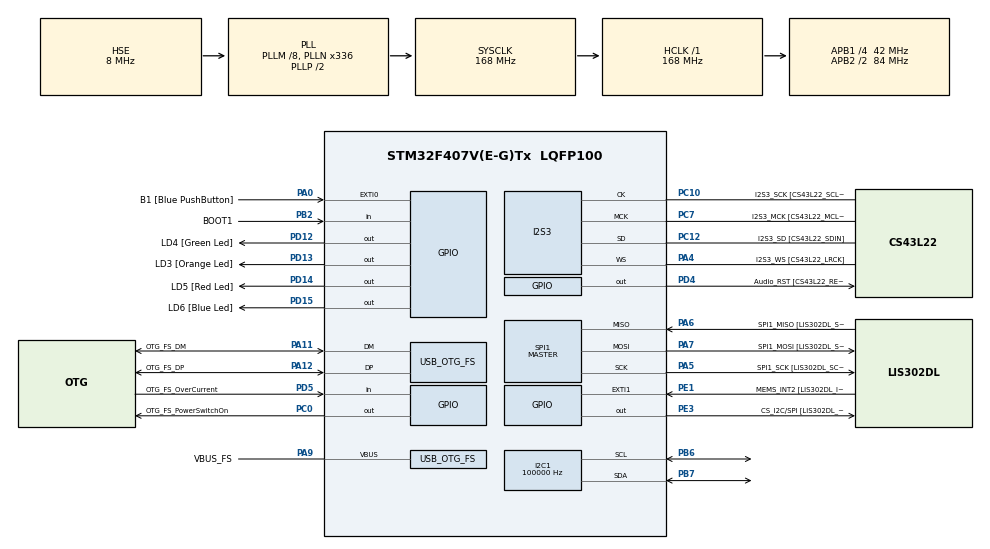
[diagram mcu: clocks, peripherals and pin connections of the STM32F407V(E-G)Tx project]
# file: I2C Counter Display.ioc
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Dma.I2C1_RX.1.Direction=DMA_PERIPH_TO_MEMORY
Dma.I2C1_RX.1.FIFOMode=DMA_FIFOMODE_DISABLE
Dma.I2C1_RX.1.Instance=DMA1_Stream5
Dma.I2C1_RX.1.MemDataAlignment=DMA_MDATAALIGN_BYTE
Dma.I2C1_RX.1.MemInc=DMA_MINC_ENABLE
Dma.I2C1_RX.1.Mode=DMA_NORMAL
Dma.I2C1_RX.1.PeriphDataAlignment=DMA_PDATAALIGN_BYTE
Dma.I2C1_RX.1.PeriphInc=DMA_PINC_DISABLE
Dma.I2C1_RX.1.Priority=DMA_PRIORITY_LOW
Dma.I2C1_TX.0.Direction=DMA_MEMORY_TO_PERIPH
Dma.I2C1_TX.0.FIFOMode=DMA_FIFOMODE_DISABLE
Dma.I2C1_TX.0.Instance=DMA1_Stream6
Dma.I2C1_TX.0.MemDataAlignment=DMA_MDATAALIGN_BYTE
Dma.I2C1_TX.0.MemInc=DMA_MINC_ENABLE
Dma.I2C1_TX.0.Mode=DMA_NORMAL
Dma.I2C1_TX.0.PeriphDataAlignment=DMA_PDATAALIGN_BYTE
Dma.I2C1_TX.0.PeriphInc=DMA_PINC_DISABLE
Dma.I2C1_TX.0.Priority=DMA_PRIORITY_LOW
Dma.Request0=I2C1_TX
Dma.Request1=I2C1_RX
I2C1.ClockSpeed=100000
I2S3.AudioFreq-Half_Duplex_Master=I2S_AUDIOFREQ_96K
I2S3.ErrorAudioFreq=-2.34 %
I2S3.ErrorAudioFreq-Half_Duplex_Master=0.8 %
I2S3.FullDuplexMode=I2S_FULLDUPLEXMODE_DISABLE
I2S3.Instance=SPI$Index
I2S3.RealAudioFreq=93.75 KHz
I2S3.RealAudioFreq-Half_Duplex_Master=96.774 KHz
I2S3.VirtualMode=I2S_MODE_MASTER
Mcu.Family=STM32F4
Mcu.Name=STM32F407V(E-G)Tx
Mcu.Package=LQFP100
NVIC.DMA1_Stream5_IRQn=true\:0\:0\:false\:false\:true\:false\:true\:true
NVIC.DMA1_Stream6_IRQn=true\:0\:0\:false\:false\:true\:false\:true\:true
NVIC.I2C1_EV_IRQn=true\:0\:0\:false\:false\:true\:true\:true\:true
NVIC.OTG_FS_IRQn=true\:0\:0\:false\:false\:true\:true\:true\:true
NVIC.PriorityGroup=NVIC_PRIORITYGROUP_0
PA0-WKUP.GPIO_Label=B1 [Blue PushButton]
PA0-WKUP.GPIO_ModeDefaultEXTI=GPIO_MODE_EVT_RISING
PA0-WKUP.GPIO_PuPd=GPIO_NOPULL
PA0-WKUP.Signal=GPXTI0
PA10.GPIO_Label=OTG_FS_ID
PA10.GPIO_Mode=GPIO_MODE_AF_PP
PA10.GPIO_PuPd=GPIO_NOPULL
PA10.GPIO_Speed=GPIO_SPEED_FREQ_LOW
PA10.Signal=USB_OTG_FS_ID
PA11.GPIO_Label=OTG_FS_DM
PA11.GPIO_Mode=GPIO_MODE_AF_PP
PA11.GPIO_PuPd=GPIO_NOPULL
PA11.GPIO_Speed=GPIO_SPEED_FREQ_LOW
PA11.Mode=Host_Only
PA11.Signal=USB_OTG_FS_DM
PA12.GPIO_Label=OTG_FS_DP
PA12.GPIO_Mode=GPIO_MODE_AF_PP
PA12.GPIO_PuPd=GPIO_NOPULL
PA12.GPIO_Speed=GPIO_SPEED_FREQ_LOW
PA12.Mode=Host_Only
PA12.Signal=USB_OTG_FS_DP
PA13.GPIO_Label=SWDIO
PA13.Mode=Serial_Wire
PA13.Signal=SYS_JTMS-SWDIO
PA14.GPIO_Label=SWCLK
PA14.Mode=Serial_Wire
PA14.Signal=SYS_JTCK-SWCLK
PA4.GPIO_Label=I2S3_WS [CS43L22_LRCK]
PA4.GPIO_Mode=GPIO_MODE_AF_PP
PA4.GPIO_PuPd=GPIO_NOPULL
PA4.GPIO_Speed=GPIO_SPEED_FREQ_LOW
PA4.Mode=Half_Duplex_Master
PA4.Signal=I2S3_WS
PA5.GPIO_Label=SPI1_SCK [LIS302DL_SCL/SPC]
PA5.GPIO_Mode=GPIO_MODE_AF_PP
PA5.GPIO_PuPd=GPIO_NOPULL
PA5.GPIO_Speed=GPIO_SPEED_FREQ_LOW
PA5.Mode=Full_Duplex_Master
PA5.Signal=SPI1_SCK
PA6.GPIO_Label=SPI1_MISO [LIS302DL_SDO]
PA6.GPIO_Mode=GPIO_MODE_AF_PP
PA6.GPIO_PuPd=GPIO_NOPULL
PA6.GPIO_Speed=GPIO_SPEED_FREQ_LOW
PA6.Mode=Full_Duplex_Master
PA6.Signal=SPI1_MISO
PA7.GPIO_Label=SPI1_MOSI [LIS302DL_SDA/SDI/SDO]
PA7.GPIO_Mode=GPIO_MODE_AF_PP
PA7.GPIO_PuPd=GPIO_NOPULL
PA7.GPIO_Speed=GPIO_SPEED_FREQ_LOW
PA7.Mode=Full_Duplex_Master
PA7.Signal=SPI1_MOSI
PA9.GPIO_Label=VBUS_FS
PA9.GPIO_Mode=GPIO_MODE_INPUT
PA9.GPIO_PuPd=GPIO_NOPULL
PA9.Mode=Activate_VBUS
PA9.Signal=USB_OTG_FS_VBUS
PB10.GPIO_Label=CLK_IN [MP45DT02_CLK]
PB10.GPIO_Mode=GPIO_MODE_AF_PP
PB10.GPIO_PuPd=GPIO_NOPULL
PB10.GPIO_Speed=GPIO_SPEED_FREQ_LOW
PB10.Signal=I2S2_CK
PB2.GPIO_Label=BOOT1
PB2.GPIO_Mode=GPIO_MODE_INPUT
PB2.GPIO_PuPd=GPIO_NOPULL
PB2.Signal=GPIO_Input
PB3.GPIO_Label=SWO
PB3.Signal=SYS_JTDO-SWO
PB6.GPIO_Mode=GPIO_MODE_AF_OD
PB6.GPIO_Pu=GPIO_PULLUP
PB6.GPIO_PuPd=GPIO_NOPULL
PB6.GPIO_Speed=GPIO_SPEED_FREQ_VERY_HIGH
PB6.Mode=I2C
PB6.Signal=I2C1_SCL
PB7.GPIO_Mode=GPIO_MODE_AF_OD
PB7.GPIO_Pu=GPIO_PULLUP
PB7.GPIO_Speed=GPIO_SPEED_FREQ_VERY_HIGH
PB7.Mode=I2C
PB7.Signal=I2C1_SDA
PC0.GPIO_Label=OTG_FS_PowerSwitchOn
PC0.GPIO_PuPd=GPIO_NOPULL
PC0.GPIO_Speed=GPIO_SPEED_FREQ_LOW
PC0.PinState=GPIO_PIN_SET
PC0.Signal=GPIO_Output
PC10.GPIO_Label=I2S3_SCK [CS43L22_SCLK]
PC10.GPIO_Mode=GPIO_MODE_AF_PP
PC10.GPIO_PuPd=GPIO_NOPULL
PC10.GPIO_Speed=GPIO_SPEED_FREQ_LOW
PC10.Mode=Half_Duplex_Master
PC10.Signal=I2S3_CK
PC12.GPIO_Label=I2S3_SD [CS43L22_SDIN]
PC12.GPIO_Mode=GPIO_MODE_AF_PP
PC12.GPIO_PuPd=GPIO_NOPULL
PC12.GPIO_Speed=GPIO_SPEED_FREQ_LOW
PC12.Mode=Half_Duplex_Master
PC12.Signal=I2S3_SD
PC14-OSC32_IN.GPIO_Label=PC14-OSC32_IN
PC14-OSC32_IN.Mode=LSE-External-Oscillator
PC14-OSC32_IN.Signal=RCC_OSC32_IN
PC15-OSC32_OUT.GPIO_Label=PC15-OSC32_OUT
PC15-OSC32_OUT.Mode=LSE-External-Oscillator
PC15-OSC32_OUT.Signal=RCC_OSC32_OUT
PC3.GPIO_Label=PDM_OUT [MP45DT02_DOUT]
PC3.GPIO_Mode=GPIO_MODE_AF_PP
PC3.GPIO_PuPd=GPIO_NOPULL
PC3.GPIO_Speed=GPIO_SPEED_FREQ_LOW
PC3.Signal=I2S2_SD
PC7.GPIO_Label=I2S3_MCK [CS43L22_MCLK]
PC7.GPIO_Mode=GPIO_MODE_AF_PP
PC7.GPIO_PuPd=GPIO_NOPULL
PC7.GPIO_Speed=GPIO_SPEED_FREQ_LOW
PC7.Mode=Master_Clock_Activated
PC7.Signal=I2S3_MCK
PD12.GPIO_Label=LD4 [Green Led]
PD12.GPIO_PuPd=GPIO_NOPULL
PD12.GPIO_Speed=GPIO_SPEED_FREQ_LOW
PD12.Signal=GPIO_Output
PD13.GPIO_Label=LD3 [Orange Led]
PD13.GPIO_PuPd=GPIO_NOPULL
PD13.GPIO_Speed=GPIO_SPEED_FREQ_LOW
PD13.Signal=GPIO_Output
PD14.GPIO_Label=LD5 [Red Led]
PD14.GPIO_PuPd=GPIO_NOPULL
PD14.GPIO_Speed=GPIO_SPEED_FREQ_LOW
PD14.Signal=GPIO_Output
PD15.GPIO_Label=LD6 [Blue Led]
PD15.GPIO_PuPd=GPIO_NOPULL
PD15.GPIO_Speed=GPIO_SPEED_FREQ_LOW
PD15.Signal=GPIO_Output
PD4.GPIO_Label=Audio_RST [CS43L22_RESET]
PD4.GPIO_PuPd=GPIO_NOPULL
PD4.GPIO_Speed=GPIO_SPEED_FREQ_LOW
PD4.Signal=GPIO_Output
PD5.GPIO_Label=OTG_FS_OverCurrent
PD5.GPIO_Mode=GPIO_MODE_INPUT
PD5.GPIO_PuPd=GPIO_NOPULL
PD5.Signal=GPIO_Input
PE1.GPIO_Label=MEMS_INT2 [LIS302DL_INT2]
PE1.GPIO_ModeDefaultEXTI=GPIO_MODE_EVT_RISING
PE1.GPIO_PuPd=GPIO_NOPULL
PE1.Signal=GPXTI1
PE3.GPIO_Label=CS_I2C/SPI [LIS302DL_CS_I2C/SPI]
PE3.GPIO_PuPd=GPIO_NOPULL
PE3.GPIO_Speed=GPIO_SPEED_FREQ_LOW
PE3.Signal=GPIO_Output
PH0-OSC_IN.GPIO_Label=PH0-OSC_IN
PH0-OSC_IN.Mode=HSE-External-Oscillator
PH0-OSC_IN.Signal=RCC_OSC_IN
PH1-OSC_OUT.GPIO_Label=PH1-OSC_OUT
PH1-OSC_OUT.Mode=HSE-External-Oscillator
PH1-OSC_OUT.Signal=RCC_OSC_OUT
ProjectManager.HeapSize=0x200
ProjectManager.StackSize=0x400
ProjectManager.TargetToolchain=STM32CubeIDE
RCC.48MHZClocksFreq_Value=48000000
RCC.AHBFreq_Value=168000000
RCC.APB1CLKDivider=RCC_HCLK_DIV4
RCC.APB1Freq_Value=42000000
RCC.APB1TimFreq_Value=84000000
RCC.APB2CLKDivider=RCC_HCLK_DIV2
RCC.APB2Freq_Value=84000000
RCC.APB2TimFreq_Value=168000000
RCC.CortexFreq_Value=168000000
RCC.HCLKFreq_Value=168000000
RCC.HSE_VALUE=8000000
RCC.HSI_VALUE=16000000
RCC.PLLM=8
RCC.PLLN=336
RCC.PLLQ=7
RCC.SYSCLKFreq_VALUE=168000000
RCC.SYSCLKSource=RCC_SYSCLKSOURCE_PLLCLK
RCC.VCOOutputFreq_Value=336000000
SPI1.BaudRatePrescaler-Full_Duplex_Master=SPI_BAUDRATEPRESCALER_2
SPI1.CalculateBaudRate-Full_Duplex_Master=42.0 MBits/s
SPI1.Direction=SPI_DIRECTION_2LINES
SPI1.Mode=SPI_MODE_MASTER
SPI1.Mode-Full_Duplex_Master=SPI_MODE_MASTER
SPI1.VirtualType=VM_MASTER
USB_HOST.BSP.number=1
USB_HOST.USBH_HandleTypeDef-CDC_FS=hUsbHostFS
USB_HOST.VirtualModeFS=Cdc
USB_HOST0.BSP.STBoard=false
USB_HOST0.BSP.api=Unknown
USB_HOST0.BSP.instance=PC0
USB_HOST0.BSP.ip=GPIO
USB_HOST0.BSP.mode=Output
USB_HOST0.BSP.name=Drive_VBUS_FS
USB_HOST0.BSP.solution=PC0
USB_OTG_FS.VirtualMode=Host_Only
USB_OTG_FS.phy_itface=HCD_PHY_EMBEDDED
VP_USB_HOST_VS_USB_HOST_CDC_FS.Mode=CDC_FS
board=STM32F407G-DISC1

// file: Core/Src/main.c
/* USER CODE BEGIN Header */
/**
  ******************************************************************************
  * @file           : main.c
  * @brief          : Main program body
  ******************************************************************************
  * @attention
  *
  * Copyright (c) 2023 STMicroelectronics.
  * All rights reserved.
  *
  * This software is licensed under terms that can be found in the LICENSE file
  * in the root directory of this software component.
  * If no LICENSE file comes with this software, it is provided AS-IS.
  *
  ******************************************************************************
  */
/* USER CODE END Header */
#include "main.h"
#include "usb_host.h"
#include "liquidcrystal_i2c.h"
#include <stdio.h>

/* USER CODE BEGIN PD */
#define displayAddress = 0x4e
/* USER CODE END PD */

I2C_HandleTypeDef hi2c1;
DMA_HandleTypeDef hdma_i2c1_tx;
DMA_HandleTypeDef hdma_i2c1_rx;

I2S_HandleTypeDef hi2s3;

SPI_HandleTypeDef hspi1;

void SystemClock_Config(void);
static void MX_GPIO_Init(void);
static void MX_DMA_Init(void);
static void MX_I2C1_Init(void);
static void MX_I2S3_Init(void);
static void MX_SPI1_Init(void);
void MX_USB_HOST_Process(void);

int main(void)
{

  /* MCU Configuration--------------------------------------------------------*/

  /* Reset of all peripherals, Initializes the Flash interface and the Systick. */
  HAL_Init();

  /* Configure the system clock */
  SystemClock_Config();

  /* Initialize all configured peripherals */
  MX_GPIO_Init();
  MX_DMA_Init();
  MX_I2C1_Init();
  MX_I2S3_Init();
  MX_SPI1_Init();
  MX_USB_HOST_Init();
  /* USER CODE BEGIN 2 */
  HD44780_Init(2);
  HD44780_Clear();
  HD44780_SetCursor(0,0);
  HD44780_PrintStr("0");
  /* USER CODE END 2 */

  /* Infinite loop */
  /* USER CODE BEGIN WHILE */
  int timesPressed = 0;
  int buttonToggled = 0;
  char display[32];
  while (1)
  {
    /* USER CODE END WHILE */
    MX_USB_HOST_Process();

    /* USER CODE BEGIN 3 */
    if(HAL_GPIO_ReadPin(GPIOA, GPIO_PIN_0)) {
    	if(!buttonToggled) {
    		timesPressed++;
    		buttonToggled = 1;
    		sprintf(display, "%d", timesPressed);
    		HD44780_Clear();
    		HD44780_SetCursor(0,0);
    		HD44780_PrintStr(display);
    	}
    }
    else{buttonToggled = 0;}
  }
  /* USER CODE END 3 */
}

void SystemClock_Config(void)
{
  RCC_OscInitTypeDef RCC_OscInitStruct = {0};
  RCC_ClkInitTypeDef RCC_ClkInitStruct = {0};

  /** Configure the main internal regulator output voltage
  */
  __HAL_RCC_PWR_CLK_ENABLE();
  __HAL_PWR_VOLTAGESCALING_CONFIG(PWR_REGULATOR_VOLTAGE_SCALE1);

  /** Initializes the RCC Oscillators according to the specified parameters
  * in the RCC_OscInitTypeDef structure.
  */
  RCC_OscInitStruct.OscillatorType = RCC_OSCILLATORTYPE_HSE;
  RCC_OscInitStruct.HSEState = RCC_HSE_ON;
  RCC_OscInitStruct.PLL.PLLState = RCC_PLL_ON;
  RCC_OscInitStruct.PLL.PLLSource = RCC_PLLSOURCE_HSE;
  RCC_OscInitStruct.PLL.PLLM = 8;
  RCC_OscInitStruct.PLL.PLLN = 336;
  RCC_OscInitStruct.PLL.PLLP = RCC_PLLP_DIV2;
  RCC_OscInitStruct.PLL.PLLQ = 7;
  if (HAL_RCC_OscConfig(&RCC_OscInitStruct) != HAL_OK)
  {
    Error_Handler();
  }

  /** Initializes the CPU, AHB and APB buses clocks
  */
  RCC_ClkInitStruct.ClockType = RCC_CLOCKTYPE_HCLK|RCC_CLOCKTYPE_SYSCLK
                              |RCC_CLOCKTYPE_PCLK1|RCC_CLOCKTYPE_PCLK2;
  RCC_ClkInitStruct.SYSCLKSource = RCC_SYSCLKSOURCE_PLLCLK;
  RCC_ClkInitStruct.AHBCLKDivider = RCC_SYSCLK_DIV1;
  RCC_ClkInitStruct.APB1CLKDivider = RCC_HCLK_DIV4;
  RCC_ClkInitStruct.APB2CLKDivider = RCC_HCLK_DIV2;

  if (HAL_RCC_ClockConfig(&RCC_ClkInitStruct, FLASH_LATENCY_5) != HAL_OK)
  {
    Error_Handler();
  }
}

static void MX_I2C1_Init(void)
{

  hi2c1.Instance = I2C1;
  hi2c1.Init.ClockSpeed = 100000;
  hi2c1.Init.DutyCycle = I2C_DUTYCYCLE_2;
  hi2c1.Init.OwnAddress1 = 0;
  hi2c1.Init.AddressingMode = I2C_ADDRESSINGMODE_7BIT;
  hi2c1.Init.DualAddressMode = I2C_DUALADDRESS_DISABLE;
  hi2c1.Init.OwnAddress2 = 0;
  hi2c1.Init.GeneralCallMode = I2C_GENERALCALL_DISABLE;
  hi2c1.Init.NoStretchMode = I2C_NOSTRETCH_DISABLE;
  if (HAL_I2C_Init(&hi2c1) != HAL_OK)
  {
    Error_Handler();
  }

}

static void MX_I2S3_Init(void)
{

  hi2s3.Instance = SPI3;
  hi2s3.Init.Mode = I2S_MODE_MASTER_TX;
  hi2s3.Init.Standard = I2S_STANDARD_PHILIPS;
  hi2s3.Init.DataFormat = I2S_DATAFORMAT_16B;
  hi2s3.Init.MCLKOutput = I2S_MCLKOUTPUT_ENABLE;
  hi2s3.Init.AudioFreq = I2S_AUDIOFREQ_96K;
  hi2s3.Init.CPOL = I2S_CPOL_LOW;
  hi2s3.Init.ClockSource = I2S_CLOCK_PLL;
  hi2s3.Init.FullDuplexMode = I2S_FULLDUPLEXMODE_DISABLE;
  if (HAL_I2S_Init(&hi2s3) != HAL_OK)
  {
    Error_Handler();
  }

}

static void MX_SPI1_Init(void)
{

  /* SPI1 parameter configuration*/
  hspi1.Instance = SPI1;
  hspi1.Init.Mode = SPI_MODE_MASTER;
  hspi1.Init.Direction = SPI_DIRECTION_2LINES;
  hspi1.Init.DataSize = SPI_DATASIZE_8BIT;
  hspi1.Init.CLKPolarity = SPI_POLARITY_LOW;
  hspi1.Init.CLKPhase = SPI_PHASE_1EDGE;
  hspi1.Init.NSS = SPI_NSS_SOFT;
  hspi1.Init.BaudRatePrescaler = SPI_BAUDRATEPRESCALER_2;
  hspi1.Init.FirstBit = SPI_FIRSTBIT_MSB;
  hspi1.Init.TIMode = SPI_TIMODE_DISABLE;
  hspi1.Init.CRCCalculation = SPI_CRCCALCULATION_DISABLE;
  hspi1.Init.CRCPolynomial = 10;
  if (HAL_SPI_Init(&hspi1) != HAL_OK)
  {
    Error_Handler();
  }

}

static void MX_DMA_Init(void)
{

  /* DMA controller clock enable */
  __HAL_RCC_DMA1_CLK_ENABLE();

  /* DMA interrupt init */
  /* DMA1_Stream5_IRQn interrupt configuration */
  HAL_NVIC_SetPriority(DMA1_Stream5_IRQn, 0, 0);
  HAL_NVIC_EnableIRQ(DMA1_Stream5_IRQn);
  /* DMA1_Stream6_IRQn interrupt configuration */
  HAL_NVIC_SetPriority(DMA1_Stream6_IRQn, 0, 0);
  HAL_NVIC_EnableIRQ(DMA1_Stream6_IRQn);

}

static void MX_GPIO_Init(void)
{
  GPIO_InitTypeDef GPIO_InitStruct = {0};

  /* GPIO Ports Clock Enable */
  __HAL_RCC_GPIOE_CLK_ENABLE();
  __HAL_RCC_GPIOC_CLK_ENABLE();
  __HAL_RCC_GPIOH_CLK_ENABLE();
  __HAL_RCC_GPIOA_CLK_ENABLE();
  __HAL_RCC_GPIOB_CLK_ENABLE();
  __HAL_RCC_GPIOD_CLK_ENABLE();

  /*Configure GPIO pin Output Level */
  HAL_GPIO_WritePin(CS_I2C_SPI_GPIO_Port, CS_I2C_SPI_Pin, GPIO_PIN_RESET);

  /*Configure GPIO pin Output Level */
  HAL_GPIO_WritePin(OTG_FS_PowerSwitchOn_GPIO_Port, OTG_FS_PowerSwitchOn_Pin, GPIO_PIN_SET);

  /*Configure GPIO pin Output Level */
  HAL_GPIO_WritePin(GPIOD, LD4_Pin|LD3_Pin|LD5_Pin|LD6_Pin
                          |Audio_RST_Pin, GPIO_PIN_RESET);

  /*Configure GPIO pin : CS_I2C_SPI_Pin */
  GPIO_InitStruct.Pin = CS_I2C_SPI_Pin;
  GPIO_InitStruct.Mode = GPIO_MODE_OUTPUT_PP;
  GPIO_InitStruct.Pull = GPIO_NOPULL;
  GPIO_InitStruct.Speed = GPIO_SPEED_FREQ_LOW;
  HAL_GPIO_Init(CS_I2C_SPI_GPIO_Port, &GPIO_InitStruct);

  /*Configure GPIO pin : OTG_FS_PowerSwitchOn_Pin */
  GPIO_InitStruct.Pin = OTG_FS_PowerSwitchOn_Pin;
  GPIO_InitStruct.Mode = GPIO_MODE_OUTPUT_PP;
  GPIO_InitStruct.Pull = GPIO_NOPULL;
  GPIO_InitStruct.Speed = GPIO_SPEED_FREQ_LOW;
  HAL_GPIO_Init(OTG_FS_PowerSwitchOn_GPIO_Port, &GPIO_InitStruct);

  /*Configure GPIO pin : PDM_OUT_Pin */
  GPIO_InitStruct.Pin = PDM_OUT_Pin;
  GPIO_InitStruct.Mode = GPIO_MODE_AF_PP;
  GPIO_InitStruct.Pull = GPIO_NOPULL;
  GPIO_InitStruct.Speed = GPIO_SPEED_FREQ_LOW;
  GPIO_InitStruct.Alternate = GPIO_AF5_SPI2;
  HAL_GPIO_Init(PDM_OUT_GPIO_Port, &GPIO_InitStruct);

  /*Configure GPIO pin : B1_Pin */
  GPIO_InitStruct.Pin = B1_Pin;
  GPIO_InitStruct.Mode = GPIO_MODE_EVT_RISING;
  GPIO_InitStruct.Pull = GPIO_NOPULL;
  HAL_GPIO_Init(B1_GPIO_Port, &GPIO_InitStruct);

  /*Configure GPIO pin : BOOT1_Pin */
  GPIO_InitStruct.Pin = BOOT1_Pin;
  GPIO_InitStruct.Mode = GPIO_MODE_INPUT;
  GPIO_InitStruct.Pull = GPIO_NOPULL;
  HAL_GPIO_Init(BOOT1_GPIO_Port, &GPIO_InitStruct);

  /*Configure GPIO pin : CLK_IN_Pin */
  GPIO_InitStruct.Pin = CLK_IN_Pin;
  GPIO_InitStruct.Mode = GPIO_MODE_AF_PP;
  GPIO_InitStruct.Pull = GPIO_NOPULL;
  GPIO_InitStruct.Speed = GPIO_SPEED_FREQ_LOW;
  GPIO_InitStruct.Alternate = GPIO_AF5_SPI2;
  HAL_GPIO_Init(CLK_IN_GPIO_Port, &GPIO_InitStruct);

  /*Configure GPIO pins : LD4_Pin LD3_Pin LD5_Pin LD6_Pin
                           Audio_RST_Pin */
  GPIO_InitStruct.Pin = LD4_Pin|LD3_Pin|LD5_Pin|LD6_Pin
                          |Audio_RST_Pin;
  GPIO_InitStruct.Mode = GPIO_MODE_OUTPUT_PP;
  GPIO_InitStruct.Pull = GPIO_NOPULL;
  GPIO_InitStruct.Speed = GPIO_SPEED_FREQ_LOW;
  HAL_GPIO_Init(GPIOD, &GPIO_InitStruct);

  /*Configure GPIO pin : OTG_FS_OverCurrent_Pin */
  GPIO_InitStruct.Pin = OTG_FS_OverCurrent_Pin;
  GPIO_InitStruct.Mode = GPIO_MODE_INPUT;
  GPIO_InitStruct.Pull = GPIO_NOPULL;
  HAL_GPIO_Init(OTG_FS_OverCurrent_GPIO_Port, &GPIO_InitStruct);

  /*Configure GPIO pin : MEMS_INT2_Pin */
  GPIO_InitStruct.Pin = MEMS_INT2_Pin;
  GPIO_InitStruct.Mode = GPIO_MODE_EVT_RISING;
  GPIO_InitStruct.Pull = GPIO_NOPULL;
  HAL_GPIO_Init(MEMS_INT2_GPIO_Port, &GPIO_InitStruct);

}

void Error_Handler(void)
{
  __disable_irq();
  while (1)
  {
  }
}
